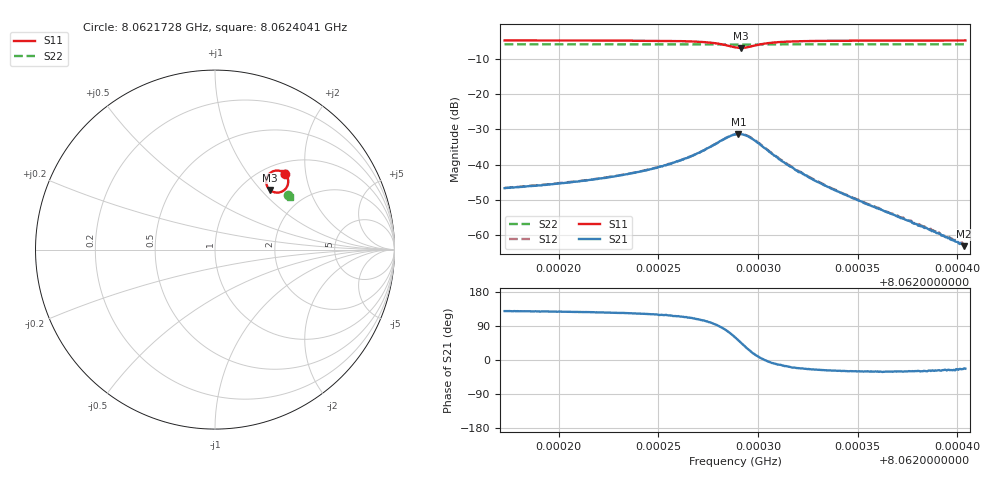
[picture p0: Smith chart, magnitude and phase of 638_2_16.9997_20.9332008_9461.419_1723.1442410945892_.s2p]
#  HZ  S  RI  R  50.00
! Rohde & Schwarz Vector Network Analyzer
! Rohde-Schwarz,ZNB20-2Port,1311601062101988,3.16
! Created: UTC 3/20/2024, 11:20:43 PM
! freq[Hz]  re:S11  im:S11  re:S21  im:S21  re:S12  im:S12  re:S22  im:S22
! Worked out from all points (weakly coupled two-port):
!   401 points, 8.0621728 GHz to 8.0624041 GHz, reference 50 ohm
!   highest |S21| = -31.30 dB at 8.0622902 GHz (marker M1); lowest = -63.1 dB at 8.0624035 GHz (marker M2)
!   lowest |S11| = -6.9 dB at 8.0622914 GHz (marker M3), VSWR 2.65, Z = 67.1 + j56.1 ohm
!   |S11| at or under -10 dB: nowhere
!   |S22| runs from -6.0 to -5.9 dB; largest |S21 - S12| = 0.0015
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8.06217284e9  0.3899 0.4236  -0.00294 0.00362  -0.00272 0.00379  0.409 0.302
8.06219191e9  0.3925 0.4208  -0.00317 0.00405  -0.00294 0.00425  0.4098 0.301
8.06221157e9  0.3955 0.417  -0.0035 0.00471  -0.00325 0.00498  0.4106 0.2998
8.06223354e9  0.4001 0.4101  -0.00406 0.00606  -0.00371 0.00632  0.4113 0.2984
8.0622503e9  0.4046 0.4005  -0.00445 0.00816  -0.00412 0.00837  0.4119 0.2971
8.06225666e9  0.4063 0.3945  -0.00474 0.00927  -0.00428 0.00958  0.4123 0.2966
8.06226649e9  0.4083 0.3801  -0.0048 0.0124  -0.00388 0.0126  0.4124 0.2955
8.0622769e9  0.4015 0.3509  -0.00242 0.0183  -0.00141 0.0185  0.412 0.2938
8.06228499e9  0.3648 0.3201  0.00645 0.0239  0.00772 0.0235  0.4105 0.2926
8.06228846e9  0.3328 0.3189  0.0133 0.0232  0.0146 0.0227  0.4091 0.2927
8.0622902e9  0.3161 0.3254  0.0169 0.0214  0.0181 0.0207  0.4085 0.293
8.06229135e9  0.3058 0.3327  0.0188 0.0195  0.0199 0.0187  0.4082 0.2936
8.06229366e9  0.2909 0.3524  0.0215 0.0149  0.0224 0.014  0.4079 0.2945
8.06229655e9  0.2849 0.3797  0.0221 0.00886  0.0229 0.00779  0.408 0.2954
8.06230465e9  0.3076 0.4269  0.0161 -0.000858  0.0163 -0.00173  0.41 0.2968
8.06231505e9  0.3373 0.4401  0.00944 -0.00291  0.00935 -0.00357  0.4118 0.2965
8.0623272e9  0.3554 0.4403  0.00567 -0.00263  0.00561 -0.00302  0.4129 0.2957
8.06234223e9  0.367 0.4374  0.00345 -0.00191  0.00336 -0.00211  0.4138 0.2949
8.06236593e9  0.3763 0.4333  0.00179 -0.00105  0.00173 -0.00115  0.4151 0.2933
8.06239021e9  0.3817 0.43  0.000956 -0.000498  0.000902 -0.000565  0.416 0.2919
8.06240351e9  0.3839 0.4286  0.000651 -0.000265  0.000647 -0.000348  0.4164 0.2912
8.06240409e9  0.384 0.4285  0.000657 -0.000277  0.000654 -0.000324  0.4164 0.2911
